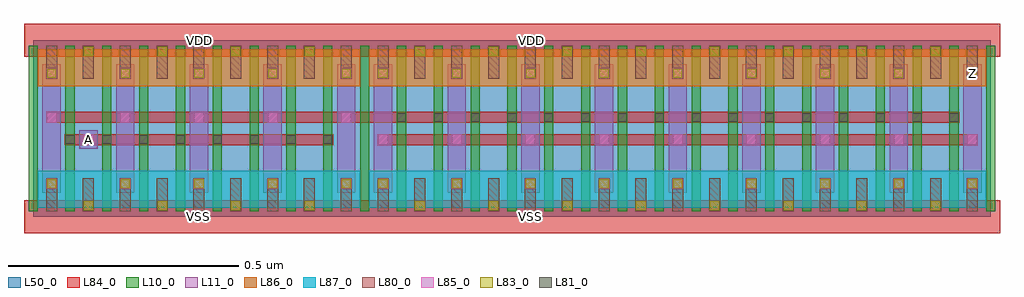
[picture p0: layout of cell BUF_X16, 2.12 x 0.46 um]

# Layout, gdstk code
import gdstk
lib = gdstk.Library(unit=1e-6, precision=1e-09)
def R(c, l, rs):  # rectangles x0, y0, x1, y1
    for r in rs: c.add(gdstk.rectangle(r[:2], r[2:], *l))
def A(c, l, x, y, w, h, nx, ny, dx, dy):  # array of equal rectangles
    R(c, l, [(x+i*dx, y+j*dy, x+i*dx+w, y+j*dy+h) for i in range(nx) for j in range(ny)])
L10_0 = (10, 0)
L11_0 = (11, 0)
L50_0 = (50, 0)
L80_0 = (80, 0)
L81_0 = (81, 0)
L83_0 = (83, 0)
L84_0 = (84, 0)
L85_0 = (85, 0)
L86_0 = (86, 0)
L87_0 = (87, 0)

buf_x16 = lib.new_cell('BUF_X16')
A(buf_x16, L10_0, -0.01, 0.012, 0.02, 0.36, 5, 1, 0.08, 0)
A(buf_x16, L10_0, 0.39, 0.012, 0.02, 0.36, 5, 1, 0.08, 0)
A(buf_x16, L10_0, 0.71, 0.012, 0.02, 0.36, 5, 1, 0.08, 0)
A(buf_x16, L10_0, 1.11, 0.012, 0.02, 0.36, 4, 1, 0.08, 0)
A(buf_x16, L10_0, 1.43, 0.012, 0.02, 0.36, 4, 1, 0.08, 0)
A(buf_x16, L10_0, 1.75, 0.012, 0.02, 0.36, 5, 1, 0.08, 0)
R(buf_x16, L10_0, [(0.31,0.012,0.33,0.372), (0.39,0.012,0.41,0.372), (1.03,0.012,1.05,0.372), (1.11,0.012,1.13,0.372), (1.35,0.012,1.37,0.372), (1.43,0.012,1.45,0.372), (1.67,0.012,1.69,0.372), (1.75,0.012,1.77,0.372)])
A(buf_x16, L11_0, 0.02, 0.052, 0.04, 0.28, 3, 1, 0.16, 0)
A(buf_x16, L11_0, 0.34, 0.052, 0.04, 0.28, 3, 1, 0.16, 0)
A(buf_x16, L11_0, 0.74, 0.052, 0.04, 0.28, 3, 1, 0.16, 0)
A(buf_x16, L11_0, 1.06, 0.052, 0.04, 0.28, 3, 1, 0.16, 0)
A(buf_x16, L11_0, 1.38, 0.052, 0.04, 0.28, 3, 1, 0.16, 0)
A(buf_x16, L11_0, 1.7, 0.052, 0.04, 0.28, 3, 1, 0.16, 0)
R(buf_x16, L11_0, [(0.1,0.148,0.14,0.188)])
R(buf_x16, L50_0, [(0,0,2.08,0.384)])
A(buf_x16, L80_0, 0.028, 0.012, 0.024, 0.072, 5, 2, 0.08, 0.288)
A(buf_x16, L80_0, 0.348, 0.012, 0.024, 0.072, 10, 2, 0.08, 0.288)
A(buf_x16, L80_0, 1.068, 0.012, 0.024, 0.072, 5, 2, 0.08, 0.288)
A(buf_x16, L80_0, 1.388, 0.012, 0.024, 0.072, 5, 2, 0.08, 0.288)
A(buf_x16, L80_0, 1.708, 0.012, 0.024, 0.072, 5, 2, 0.08, 0.288)
A(buf_x16, L81_0, 0.071, 0.159, 0.018, 0.018, 8, 1, 0.08, 0)
A(buf_x16, L81_0, 0.791, 0.207, 0.018, 0.018, 16, 1, 0.08, 0)
A(buf_x16, L83_0, 0.11, 0.014, 0.02, 0.02, 4, 2, 0.16, 0.336)
A(buf_x16, L83_0, 0.83, 0.014, 0.02, 0.02, 8, 2, 0.16, 0.336)
A(buf_x16, L83_0, 0.03, 0.062, 0.02, 0.02, 3, 2, 0.16, 0.24)
A(buf_x16, L83_0, 0.35, 0.062, 0.02, 0.02, 3, 2, 0.16, 0.24)
A(buf_x16, L83_0, 0.75, 0.062, 0.02, 0.02, 3, 2, 0.16, 0.24)
A(buf_x16, L83_0, 1.07, 0.062, 0.02, 0.02, 3, 2, 0.16, 0.24)
A(buf_x16, L83_0, 1.39, 0.062, 0.02, 0.02, 3, 2, 0.16, 0.24)
A(buf_x16, L83_0, 1.71, 0.062, 0.02, 0.02, 3, 2, 0.16, 0.24)
A(buf_x16, L84_0, 0.7, -0.036, 0.44, 0.072, 4, 2, 0.32, 0.384)
A(buf_x16, L84_0, 0.028, 0.06, 0.024, 0.024, 3, 2, 0.16, 0.24)
A(buf_x16, L84_0, 0.348, 0.06, 0.024, 0.024, 3, 2, 0.16, 0.24)
A(buf_x16, L84_0, 0.748, 0.06, 0.024, 0.024, 3, 2, 0.16, 0.24)
A(buf_x16, L84_0, 1.068, 0.06, 0.024, 0.024, 3, 2, 0.16, 0.24)
A(buf_x16, L84_0, 1.388, 0.06, 0.024, 0.024, 3, 2, 0.16, 0.24)
A(buf_x16, L84_0, 1.708, 0.06, 0.024, 0.024, 3, 2, 0.16, 0.24)
A(buf_x16, L84_0, 0.748, 0.156, 0.344, 0.024, 4, 1, 0.32, 0)
A(buf_x16, L84_0, 0.788, 0.204, 0.342, 0.024, 3, 1, 0.32, 0)
R(buf_x16, L84_0, [(-0.02,-0.036,0.42,0.036), (0.3,-0.036,0.74,0.036), (0.068,0.156,0.41,0.18), (0.388,0.156,0.652,0.18), (0.028,0.204,0.372,0.228), (0.348,0.204,0.81,0.228), (1.748,0.204,2.012,0.228), (-0.02,0.348,0.42,0.42), (0.3,0.348,0.74,0.42)])
A(buf_x16, L85_0, 0.029, 0.061, 0.022, 0.022, 3, 2, 0.16, 0.144)
A(buf_x16, L85_0, 0.349, 0.061, 0.022, 0.022, 3, 2, 0.16, 0.144)
A(buf_x16, L85_0, 0.749, 0.061, 0.022, 0.022, 3, 2, 0.16, 0.096)
A(buf_x16, L85_0, 1.069, 0.061, 0.022, 0.022, 3, 2, 0.16, 0.096)
A(buf_x16, L85_0, 1.389, 0.061, 0.022, 0.022, 3, 2, 0.16, 0.096)
A(buf_x16, L85_0, 1.709, 0.061, 0.022, 0.022, 3, 2, 0.16, 0.096)
A(buf_x16, L85_0, 0.029, 0.301, 0.022, 0.022, 3, 1, 0.16, 0)
A(buf_x16, L85_0, 0.349, 0.301, 0.022, 0.022, 3, 1, 0.16, 0)
A(buf_x16, L85_0, 0.749, 0.301, 0.022, 0.022, 3, 1, 0.16, 0)
A(buf_x16, L85_0, 1.069, 0.301, 0.022, 0.022, 3, 1, 0.16, 0)
A(buf_x16, L85_0, 1.389, 0.301, 0.022, 0.022, 3, 1, 0.16, 0)
A(buf_x16, L85_0, 1.709, 0.301, 0.022, 0.022, 3, 1, 0.16, 0)
R(buf_x16, L85_0, [(0.109,0.157,0.131,0.179)])
A(buf_x16, L86_0, 0.73, 0.284, 0.38, 0.08, 4, 1, 0.32, 0)
R(buf_x16, L86_0, [(0.01,0.284,0.39,0.364), (0.33,0.284,0.71,0.364)])
A(buf_x16, L87_0, 0.73, 0.02, 0.38, 0.08, 4, 1, 0.32, 0)
R(buf_x16, L87_0, [(0.01,0.02,0.39,0.1), (0.33,0.02,0.71,0.1)])
buf_x16.add(gdstk.Label('VDD', (1.082,0.384), layer=88, texttype=0))
buf_x16.add(gdstk.Label('VSS', (1.08,0), layer=88, texttype=0))
buf_x16.add(gdstk.Label('VSS', (0.36,0), layer=88, texttype=0))
buf_x16.add(gdstk.Label('VDD', (0.362,0.384), layer=88, texttype=0))
buf_x16.add(gdstk.Label('Z', (2.04,0.312), layer=31, texttype=0))
buf_x16.add(gdstk.Label('A', (0.12,0.168), layer=31, texttype=0))

lib.write_gds('BUF_X16.gds')
